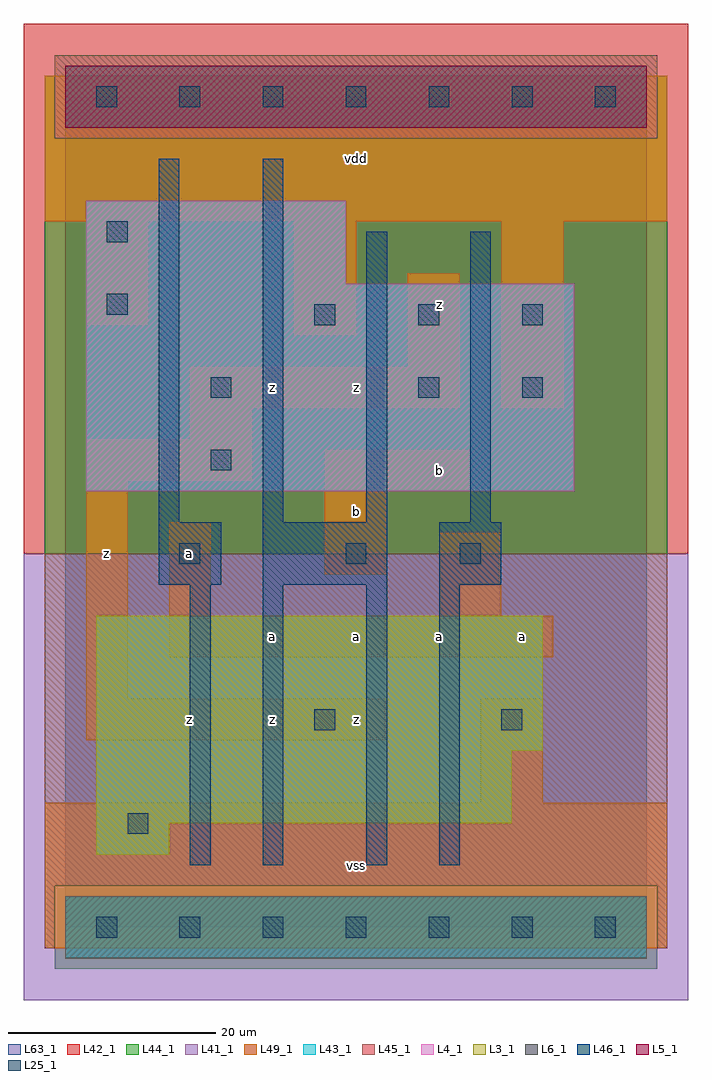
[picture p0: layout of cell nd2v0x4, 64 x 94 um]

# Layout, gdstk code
import gdstk
lib = gdstk.Library(unit=1e-6, precision=1e-09)
def R(c, l, rs):  # rectangles x0, y0, x1, y1
    for r in rs: c.add(gdstk.rectangle(r[:2], r[2:], *l))
def A(c, l, x, y, w, h, nx, ny, dx, dy):  # array of equal rectangles
    R(c, l, [(x+i*dx, y+j*dy, x+i*dx+w, y+j*dy+h) for i in range(nx) for j in range(ny)])
L3_1 = (3, 1)
L4_1 = (4, 1)
L5_1 = (5, 1)
L6_1 = (6, 1)
L25_1 = (25, 1)
L41_1 = (41, 1)
L42_1 = (42, 1)
L43_1 = (43, 1)
L44_1 = (44, 1)
L45_1 = (45, 1)
L46_1 = (46, 1)
L49_1 = (49, 1)
L63_1 = (63, 1)

nd2v0x4 = lib.new_cell('nd2v0x4')
R(nd2v0x4, L3_1, [(3,7,10,10), (3,10,43,17), (3,17,46,30)])
R(nd2v0x4, L4_1, [(2,42,49,62), (2,62,27,70)])
R(nd2v0x4, L5_1, [(0,77,56,83)])
R(nd2v0x4, L6_1, [(0,-3,56,3), (0,-3,56,3)])
A(nd2v0x4, L25_1, 3, -1, 2, 2, 7, 2, 8, 80)
A(nd2v0x4, L25_1, 24, 58, 2, 2, 3, 1, 10, 0)
R(nd2v0x4, L25_1, [(6,9,8,11), (24,19,26,21), (42,19,44,21), (11,35,13,37), (27,35,29,37), (38,35,40,37), (14,44,16,46), (14,51,16,53), (34,51,36,53), (44,51,46,53), (4,59,6,61), (4,66,6,68)])
R(nd2v0x4, L41_1, [(-4,-7,60,36)])
R(nd2v0x4, L42_1, [(-4,36,60,87)])
R(nd2v0x4, L43_1, [(0,-3,56,3), (3,7,10,10), (3,10,43,17), (3,17,46,30), (2,42,49,62), (2,62,27,70), (0,77,56,83)])
R(nd2v0x4, L44_1, [(-1,-4,57,4), (-2,36,58,76), (-2,76,-1,82), (57,76,58,82)])
R(nd2v0x4, L45_1, [(-2,-2,-1,4), (57,-2,58,4), (-2,4,58,36), (-1,76,57,84)])
R(nd2v0x4, L46_1, [(12,6,14,33), (19,6,21,33), (29,6,31,33), (36,6,38,33), (9,33,15,39), (19,33,31,39), (36,33,42,39), (9,39,11,74), (19,39,21,74), (29,39,31,67), (39,39,41,67)])
R(nd2v0x4, L49_1, [(-2,-2,58,12), (40,12,46,22), (2,18,31,22), (2,22,6,43), (10,26,47,30), (10,30,14,39), (36,30,42,38), (25,34,31,42), (25,42,39,46), (2,43,18,47), (12,47,18,50), (12,50,38,54), (42,50,48,68), (33,54,38,63), (22,57,28,68), (2,58,8,68), (-2,68,58,82)])
R(nd2v0x4, L63_1, [(0,0,56,80)])
nd2v0x4.add(gdstk.Label('z', (4,36), layer=49, texttype=1))
nd2v0x4.add(gdstk.Label('z', (12,20), layer=49, texttype=1))
nd2v0x4.add(gdstk.Label('a', (12,36), layer=49, texttype=1))
nd2v0x4.add(gdstk.Label('vss', (28,6), layer=49, texttype=1))
nd2v0x4.add(gdstk.Label('z', (20,20), layer=49, texttype=1))
nd2v0x4.add(gdstk.Label('a', (20,28), layer=49, texttype=1))
nd2v0x4.add(gdstk.Label('a', (28,28), layer=49, texttype=1))
nd2v0x4.add(gdstk.Label('z', (28,20), layer=49, texttype=1))
nd2v0x4.add(gdstk.Label('b', (28,40), layer=49, texttype=1))
nd2v0x4.add(gdstk.Label('z', (28,52), layer=49, texttype=1))
nd2v0x4.add(gdstk.Label('z', (20,52), layer=49, texttype=1))
nd2v0x4.add(gdstk.Label('vdd', (28,74), layer=49, texttype=1))
nd2v0x4.add(gdstk.Label('a', (36,28), layer=49, texttype=1))
nd2v0x4.add(gdstk.Label('a', (44,28), layer=49, texttype=1))
nd2v0x4.add(gdstk.Label('b', (36,44), layer=49, texttype=1))
nd2v0x4.add(gdstk.Label('z', (36,60), layer=49, texttype=1))

lib.write_gds('nd2v0x4.gds')
